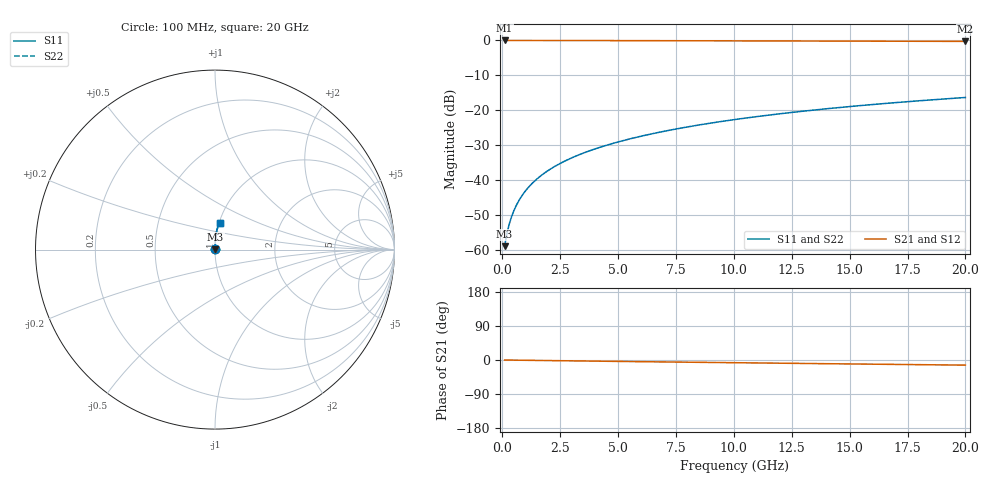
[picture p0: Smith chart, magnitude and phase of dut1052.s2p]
! Touchstone file exported from HFSS 2024.1.0
!  File:  C:/UserFiles/LocalFiles/RDL_TSV_Batchsim/temp_RDL_bottom_1052_1780052052.aedt
!  Generated:  06:56:07 PM May 29, 2026
!  Design:  RDL_bottom
!  Project:  temp_RDL_bottom_1052_1780052052
!  Setup:  Setup1
!  Solution:  Sweep
! Variables:
!  dtsv = 10.80580581um
!  hbump = 3um
!  htsv = 93.13um
!  ldown = 163.71um
!  lrdl = 100um
!  p = 40
!  p1 = 46.68um
!  rhole = 1um
!  t = 450um
!  tdown = 4.24um
!  trdl = 3.915915916um
!  wdown = 19.79um
!  wrdl = 20um
# GHz S MA R 50.000000
! Terminal data exported
! Port[1] = RDL1_T1
! Port[2] = RDL1_T2
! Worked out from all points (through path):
!   200 points, 100 MHz to 20 GHz, reference 50 ohm
!   highest |S21| = -0.01 dB at 100 MHz (marker M1); lowest = -0.3 dB at 20 GHz (marker M2)
!   group delay of S21, straight-line fit = 1.86 ps
!   lowest |S11| = -58.8 dB at 100 MHz (marker M3), VSWR 1.00, Z = 50.1 + j0.0748 ohm
!   |S11| at or under -10 dB: start of sweep to end of sweep
!   |S22| runs from -58.8 to -16.3 dB; largest |S21 - S12| = 3.1e-15
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0.1  0.001142 40.8  0.9991 -0.1  0.9991 -0.1  0.001142 40.8
! Gamma 0 0 0 0
! Port Impedance 50 0 50 0
0.2  0.001724 58.5  0.9991 -0.2  0.9991 -0.2  0.001724 58.5
0.3  0.002363 66.6  0.999 -0.2  0.999 -0.2  0.002363 66.6
0.4  0.003015 71.3  0.999 -0.3  0.999 -0.3  0.003015 71.3
0.5  0.003674 74.5  0.999 -0.4  0.999 -0.4  0.003674 74.5
0.6  0.004339 76.8  0.9989 -0.5  0.9989 -0.5  0.004339 76.8
0.8  0.005683 79.8  0.9988 -0.6  0.9988 -0.6  0.005683 79.8
1.1  0.007721 82.5  0.9987 -0.8  0.9987 -0.8  0.007721 82.5
1.5  0.01047 84.5  0.9985 -1.2  0.9985 -1.2  0.01047 84.5
1.8  0.01254 85.4  0.9983 -1.4  0.9983 -1.4  0.01254 85.4
2.1  0.01462 86.1  0.998 -1.6  0.998 -1.6  0.01462 86.1
2.7  0.01882 87.0  0.9975 -2.1  0.9975 -2.1  0.01882 87.0
3.5  0.02448 87.8  0.9965 -2.7  0.9965 -2.7  0.02448 87.8
4.2  0.0295 88.1  0.9956 -3.2  0.9956 -3.2  0.0295 88.1
5  0.03533 88.4  0.9944 -3.7  0.9944 -3.7  0.03533 88.4
5.9  0.04199 88.4  0.993 -4.4  0.993 -4.4  0.04199 88.4
6.8  0.04877 88.3  0.9915 -5.0  0.9915 -5.0  0.04877 88.3
8.4  0.06106 87.9  0.9888 -6.1  0.9888 -6.1  0.06106 87.9
10.1  0.07437 87.2  0.9859 -7.2  0.9859 -7.2  0.07437 87.1
13.4  0.1006 85.2  0.9803 -9.4  0.9803 -9.4  0.1006 85.2
16.7  0.1268 82.9  0.9748 -11.5  0.9748 -11.5  0.1268 82.9
20  0.1527 80.5  0.9692 -13.6  0.9692 -13.6  0.1527 80.5
